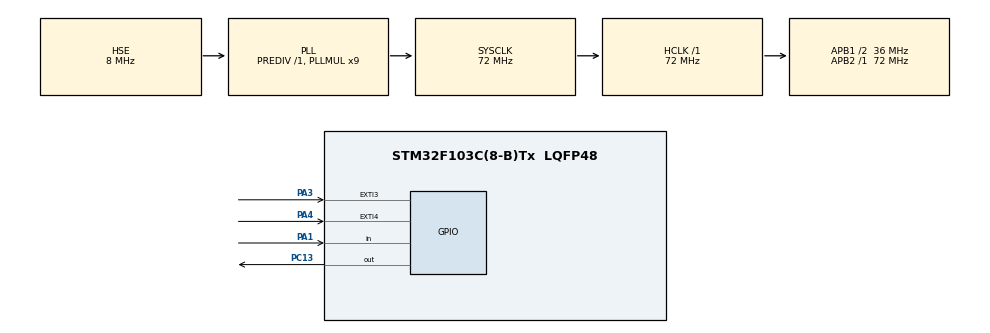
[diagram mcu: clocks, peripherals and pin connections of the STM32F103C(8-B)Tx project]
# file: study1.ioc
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Mcu.Family=STM32F1
Mcu.Name=STM32F103C(8-B)Tx
Mcu.Package=LQFP48
NVIC.EXTI3_IRQn=true\:2\:0\:true\:false\:true\:true\:true\:true
NVIC.EXTI4_IRQn=true\:1\:0\:true\:false\:true\:true\:true\:true
NVIC.PriorityGroup=NVIC_PRIORITYGROUP_4
PA1.GPIO_PuPd=GPIO_PULLDOWN
PA1.Signal=GPIO_Input
PA13.Mode=Serial_Wire
PA13.Signal=SYS_JTMS-SWDIO
PA14.Mode=Serial_Wire
PA14.Signal=SYS_JTCK-SWCLK
PA3.GPIO_PuPd=GPIO_PULLDOWN
PA3.Signal=GPXTI3
PA4.GPIO_PuPd=GPIO_PULLDOWN
PA4.Signal=GPXTI4
PC13-TAMPER-RTC.Signal=GPIO_Output
PD0-OSC_IN.Mode=HSE-External-Oscillator
PD0-OSC_IN.Signal=RCC_OSC_IN
PD1-OSC_OUT.Mode=HSE-External-Oscillator
PD1-OSC_OUT.Signal=RCC_OSC_OUT
ProjectManager.HeapSize=0x200
ProjectManager.StackSize=0x400
ProjectManager.TargetToolchain=Makefile
RCC.AHBFreq_Value=72000000
RCC.APB1CLKDivider=RCC_HCLK_DIV2
RCC.APB1Freq_Value=36000000
RCC.APB1TimFreq_Value=72000000
RCC.APB2Freq_Value=72000000
RCC.APB2TimFreq_Value=72000000
RCC.HCLKFreq_Value=72000000
RCC.PLLMUL=RCC_PLL_MUL9
RCC.PLLSourceVirtual=RCC_PLLSOURCE_HSE
RCC.SYSCLKFreq_VALUE=72000000
RCC.SYSCLKSource=RCC_SYSCLKSOURCE_PLLCLK
RCC.USBFreq_Value=72000000
board=custom

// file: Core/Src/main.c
/* USER CODE BEGIN Header */
/**
  ******************************************************************************
  * @file           : main.c
  * @brief          : Main program body
  ******************************************************************************
  * @attention
  *
  * Copyright (c) 2026 STMicroelectronics.
  * All rights reserved.
  *
  * This software is licensed under terms that can be found in the LICENSE file
  * in the root directory of this software component.
  * If no LICENSE file comes with this software, it is provided AS-IS.
  *
  ******************************************************************************
  */
/* USER CODE END Header */
#include "main.h"
#include "gpio.h"

/* USER CODE BEGIN PV */
uint8_t flag=0;
/* USER CODE END PV */

void SystemClock_Config(void);

int main(void)
{

  /* MCU Configuration--------------------------------------------------------*/

  /* Reset of all peripherals, Initializes the Flash interface and the Systick. */
  HAL_Init();

  /* Configure the system clock */
  SystemClock_Config();

  /* Initialize all configured peripherals */
  MX_GPIO_Init();
  /* USER CODE BEGIN 2 */
  HAL_GPIO_WritePin(GPIOC,GPIO_PIN_13,1);
  /* USER CODE END 2 */

  /* Infinite loop */
  /* USER CODE BEGIN WHILE */
  while (1)
  {
    if(flag==0){
      HAL_GPIO_WritePin(GPIOC,GPIO_PIN_13,0);
      HAL_Delay(500);
      HAL_GPIO_WritePin(GPIOC,GPIO_PIN_13,1);
      HAL_Delay(500);
    }
    if(flag==1){
      HAL_GPIO_WritePin(GPIOC,GPIO_PIN_13,0);
      HAL_Delay(80);
      HAL_GPIO_WritePin(GPIOC,GPIO_PIN_13,1);
      HAL_Delay(80);

    }
    if(flag==2){
      HAL_GPIO_WritePin(GPIOC,GPIO_PIN_13,0);
    }
    /* USER CODE END WHILE */

  }
}

void SystemClock_Config(void)
{
  RCC_OscInitTypeDef RCC_OscInitStruct = {0};
  RCC_ClkInitTypeDef RCC_ClkInitStruct = {0};

  /** Initializes the RCC Oscillators according to the specified parameters
  * in the RCC_OscInitTypeDef structure.
  */
  RCC_OscInitStruct.OscillatorType = RCC_OSCILLATORTYPE_HSE;
  RCC_OscInitStruct.HSEState = RCC_HSE_ON;
  RCC_OscInitStruct.HSEPredivValue = RCC_HSE_PREDIV_DIV1;
  RCC_OscInitStruct.HSIState = RCC_HSI_ON;
  RCC_OscInitStruct.PLL.PLLState = RCC_PLL_ON;
  RCC_OscInitStruct.PLL.PLLSource = RCC_PLLSOURCE_HSE;
  RCC_OscInitStruct.PLL.PLLMUL = RCC_PLL_MUL9;
  if (HAL_RCC_OscConfig(&RCC_OscInitStruct) != HAL_OK)
  {
    Error_Handler();
  }

  /** Initializes the CPU, AHB and APB buses clocks
  */
  RCC_ClkInitStruct.ClockType = RCC_CLOCKTYPE_HCLK|RCC_CLOCKTYPE_SYSCLK
                              |RCC_CLOCKTYPE_PCLK1|RCC_CLOCKTYPE_PCLK2;
  RCC_ClkInitStruct.SYSCLKSource = RCC_SYSCLKSOURCE_PLLCLK;
  RCC_ClkInitStruct.AHBCLKDivider = RCC_SYSCLK_DIV1;
  RCC_ClkInitStruct.APB1CLKDivider = RCC_HCLK_DIV2;
  RCC_ClkInitStruct.APB2CLKDivider = RCC_HCLK_DIV1;

  if (HAL_RCC_ClockConfig(&RCC_ClkInitStruct, FLASH_LATENCY_2) != HAL_OK)
  {
    Error_Handler();
  }
}

/* USER CODE BEGIN 4 */
void HAL_GPIO_EXTI_Callback(uint16_t GPIO_Pin)
{
  if(GPIO_Pin==GPIO_PIN_4)
  {
    flag=2;
  }
  else if(GPIO_Pin==GPIO_PIN_3)
  {
    if(flag!=2){
    flag=1;}
  }
}

/* USER CODE END 4 */

void Error_Handler(void)
{
  __disable_irq();
  while (1)
  {
  }
}
